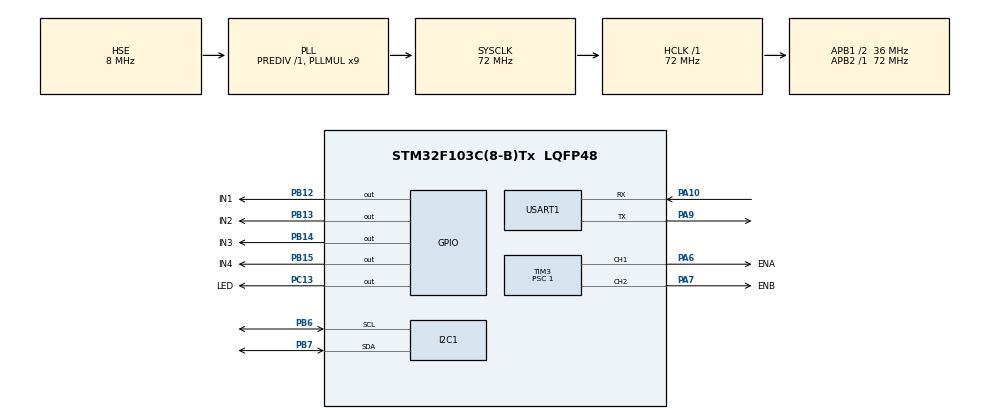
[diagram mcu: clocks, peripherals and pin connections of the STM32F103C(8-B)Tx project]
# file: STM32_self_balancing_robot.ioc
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FREERTOS.MEMORY_ALLOCATION=1
FREERTOS.Tasks01=defaultTask,-2,128,StartDefaultTask,Default,NULL,Static,defaultTaskBuffer,defaultTaskControlBlock;mpu6050Task,2,128,StartMpu6050Task,Default,NULL,Static,mpu6050TaskBuffer,mpu6050TaskControlBlock;pidCtrlTask,2,128,StartPidControllerTask,Default,NULL,Static,pidControllerTaBuffer,pidControllerTaControlBlock;sbrMasterTask,1,128,StartSbrMasterTask,Default,NULL,Static,sbrMasterTaskBuffer,sbrMasterTaskControlBlock;debugMsgTask,-2,128,StartDebugMessengerTask,Default,NULL,Static,debugMessengerHBuffer,debugMessengerHControlBlock;sbrCmdTask,-2,128,StartSbrCommandTask,Default,NULL,Static,sbrCommandHandlBuffer,sbrCommandHandlControlBlock;motorCtrlTask,2,128,StartMotorCtrlTask,Default,NULL,Static,motorCtrlTaskBuffer,motorCtrlTaskControlBlock;ledTask,-2,128,StartLedTask,Default,NULL,Static,ledTaskBuffer,ledTaskControlBlock
FREERTOS.configUSE_NEWLIB_REENTRANT=1
Mcu.Family=STM32F1
Mcu.Name=STM32F103C(8-B)Tx
Mcu.Package=LQFP48
NVIC.PriorityGroup=NVIC_PRIORITYGROUP_4
NVIC.TIM1_UP_IRQn=true\:15\:0\:false\:false\:true\:false\:false\:true\:true
NVIC.TimeBase=TIM1_UP_IRQn
NVIC.TimeBaseIP=TIM1
NVIC.USART1_IRQn=true\:5\:0\:false\:false\:true\:true\:true\:true\:true
PA10.Mode=Asynchronous
PA10.Signal=USART1_RX
PA13.Mode=Serial_Wire
PA13.Signal=SYS_JTMS-SWDIO
PA14.Mode=Serial_Wire
PA14.Signal=SYS_JTCK-SWCLK
PA6.GPIO_Label=ENA
PA6.Signal=S_TIM3_CH1
PA7.GPIO_Label=ENB
PA7.Signal=S_TIM3_CH2
PA9.Mode=Asynchronous
PA9.Signal=USART1_TX
PB12.GPIO_Label=IN1
PB12.Signal=GPIO_Output
PB13.GPIO_Label=IN2
PB13.Signal=GPIO_Output
PB14.GPIO_Label=IN3
PB14.Signal=GPIO_Output
PB15.GPIO_Label=IN4
PB15.Signal=GPIO_Output
PB6.GPIO_Pu=GPIO_PULLUP
PB6.Mode=I2C
PB6.Signal=I2C1_SCL
PB7.GPIO_Pu=GPIO_PULLUP
PB7.Mode=I2C
PB7.Signal=I2C1_SDA
PC13-TAMPER-RTC.GPIO_Label=LED
PC13-TAMPER-RTC.Signal=GPIO_Output
PD0-OSC_IN.Mode=HSE-External-Oscillator
PD0-OSC_IN.Signal=RCC_OSC_IN
PD1-OSC_OUT.Mode=HSE-External-Oscillator
PD1-OSC_OUT.Signal=RCC_OSC_OUT
ProjectManager.HeapSize=0x200
ProjectManager.StackSize=0x400
ProjectManager.TargetToolchain=Makefile
RCC.AHBFreq_Value=72000000
RCC.APB1CLKDivider=RCC_HCLK_DIV2
RCC.APB1Freq_Value=36000000
RCC.APB1TimFreq_Value=72000000
RCC.APB2Freq_Value=72000000
RCC.APB2TimFreq_Value=72000000
RCC.HCLKFreq_Value=72000000
RCC.PLLMUL=RCC_PLL_MUL9
RCC.PLLSourceVirtual=RCC_PLLSOURCE_HSE
RCC.SYSCLKFreq_VALUE=72000000
RCC.SYSCLKSource=RCC_SYSCLKSOURCE_PLLCLK
RCC.USBFreq_Value=72000000
SH.S_TIM3_CH1.0=TIM3_CH1,PWM Generation1 CH1
SH.S_TIM3_CH2.0=TIM3_CH2,PWM Generation2 CH2
TIM3.Channel-PWM\ Generation1\ CH1=TIM_CHANNEL_1
TIM3.Channel-PWM\ Generation2\ CH2=TIM_CHANNEL_2
TIM3.Period=1023
TIM3.Prescaler=1
USART1.VirtualMode=VM_ASYNC
VP_FREERTOS_VS_CMSIS_V1.Mode=CMSIS_V1
VP_SYS_VS_tim1.Mode=TIM1
VP_TIM3_VS_ClockSourceINT.Mode=Internal
board=custom

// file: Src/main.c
/* USER CODE BEGIN Header */
/**
 ******************************************************************************
 * @file           : main.c
 * @brief          : Main program body
 ******************************************************************************
 * @attention
 *
 * <h2><center>&copy; Copyright (c) 2019 STMicroelectronics.
 * All rights reserved.</center></h2>
 *
 * This software component is licensed by ST under BSD 3-Clause license,
 * the "License"; You may not use this file except in compliance with the
 * License. You may obtain a copy of the License at:
 *                        opensource.org/licenses/BSD-3-Clause
 *
 ******************************************************************************
 */
/* USER CODE END Header */
#include "main.h"
#include "cmsis_os.h"

/* USER CODE BEGIN Includes */
#include <stdio.h>
#include <stdlib.h>
//#include <stdint.h>
#include <string.h>
#include "conf.h"
#include "self_balancing_robot.h"
/* USER CODE END Includes */

I2C_HandleTypeDef hi2c1;

TIM_HandleTypeDef htim3;

UART_HandleTypeDef huart1;

osThreadId defaultTaskHandle;
uint32_t defaultTaskBuffer[ 128 ];
osStaticThreadDef_t defaultTaskControlBlock;
osThreadId mpu6050TaskHandle;
uint32_t mpu6050TaskBuffer[ 128 ];
osStaticThreadDef_t mpu6050TaskControlBlock;
osThreadId pidCtrlTaskHandle;
uint32_t pidControllerTaBuffer[ 128 ];
osStaticThreadDef_t pidControllerTaControlBlock;
osThreadId sbrMasterTaskHandle;
uint32_t sbrMasterTaskBuffer[ 128 ];
osStaticThreadDef_t sbrMasterTaskControlBlock;
osThreadId debugMsgTaskHandle;
uint32_t debugMessengerHBuffer[ 128 ];
osStaticThreadDef_t debugMessengerHControlBlock;
osThreadId sbrCmdTaskHandle;
uint32_t sbrCommandHandlBuffer[ 128 ];
osStaticThreadDef_t sbrCommandHandlControlBlock;
osThreadId motorCtrlTaskHandle;
uint32_t motorCtrlTaskBuffer[ 128 ];
osStaticThreadDef_t motorCtrlTaskControlBlock;
osThreadId ledTaskHandle;
uint32_t ledTaskBuffer[ 128 ];
osStaticThreadDef_t ledTaskControlBlock;

void SystemClock_Config(void);
static void MX_GPIO_Init(void);
static void MX_I2C1_Init(void);
static void MX_TIM3_Init(void);
static void MX_USART1_UART_Init(void);
void StartDefaultTask(void const * argument);
void StartMpu6050Task(void const * argument);
void StartPidControllerTask(void const * argument);
void StartSbrMasterTask(void const * argument);
void StartDebugMessengerTask(void const * argument);
void StartSbrCommandTask(void const * argument);
void StartMotorCtrlTask(void const * argument);
void StartLedTask(void const * argument);

/* USER CODE BEGIN 0 */
SELF_BALANCING_ROBOT_handle_S selfBalancingRobot;

uint8_t UART_tx_buffer[2][100] = { 0 };
/* USER CODE END 0 */

int main(void)
{

  /* MCU Configuration--------------------------------------------------------*/

  /* Reset of all peripherals, Initializes the Flash interface and the Systick. */
  HAL_Init();

  /* USER CODE BEGIN Init */
    selfBalancingRobot.req_robot_angle = INITIAL_UPRIGHT_ROBOT_ANGLE;
  /* USER CODE END Init */

  /* Configure the system clock */
  SystemClock_Config();

  /* Initialize all configured peripherals */
  MX_GPIO_Init();
  MX_I2C1_Init();
  MX_TIM3_Init();
  MX_USART1_UART_Init();
  /* USER CODE BEGIN 2 */
  HAL_Delay(2000);
  // Initialize accelerometer and gyroscope
  MPU6050_init(&selfBalancingRobot.mpu6050Handle, &hi2c1);
  // Initialize PID controler
  PID_init(&selfBalancingRobot.pidHandle);
  // Turn the on-board LED off
  HAL_GPIO_WritePin(LED_GPIO_Port, LED_Pin, GPIO_PIN_SET);
  // Enable UART rx interrupts (bluetooth)
  __HAL_UART_ENABLE_IT(&huart1, UART_IT_RXNE);
  // Initialize motors
  MOTORS_init(&selfBalancingRobot.motorsHandle, &htim3);
  /* USER CODE END 2 */

  /* Create the thread(s) */
  /* definition and creation of defaultTask */
  osThreadStaticDef(defaultTask, StartDefaultTask, osPriorityLow, 0, 128, defaultTaskBuffer, &defaultTaskControlBlock);
  defaultTaskHandle = osThreadCreate(osThread(defaultTask), NULL);

  /* definition and creation of mpu6050Task */
  osThreadStaticDef(mpu6050Task, StartMpu6050Task, osPriorityHigh, 0, 128, mpu6050TaskBuffer, &mpu6050TaskControlBlock);
  mpu6050TaskHandle = osThreadCreate(osThread(mpu6050Task), NULL);

  /* definition and creation of pidCtrlTask */
  osThreadStaticDef(pidCtrlTask, StartPidControllerTask, osPriorityHigh, 0, 128, pidControllerTaBuffer, &pidControllerTaControlBlock);
  pidCtrlTaskHandle = osThreadCreate(osThread(pidCtrlTask), NULL);

  /* definition and creation of sbrMasterTask */
  osThreadStaticDef(sbrMasterTask, StartSbrMasterTask, osPriorityAboveNormal, 0, 128, sbrMasterTaskBuffer, &sbrMasterTaskControlBlock);
  sbrMasterTaskHandle = osThreadCreate(osThread(sbrMasterTask), NULL);

  /* definition and creation of debugMsgTask */
  osThreadStaticDef(debugMsgTask, StartDebugMessengerTask, osPriorityLow, 0, 128, debugMessengerHBuffer, &debugMessengerHControlBlock);
  debugMsgTaskHandle = osThreadCreate(osThread(debugMsgTask), NULL);

  /* definition and creation of sbrCmdTask */
  osThreadStaticDef(sbrCmdTask, StartSbrCommandTask, osPriorityLow, 0, 128, sbrCommandHandlBuffer, &sbrCommandHandlControlBlock);
  sbrCmdTaskHandle = osThreadCreate(osThread(sbrCmdTask), NULL);

  /* definition and creation of motorCtrlTask */
  osThreadStaticDef(motorCtrlTask, StartMotorCtrlTask, osPriorityHigh, 0, 128, motorCtrlTaskBuffer, &motorCtrlTaskControlBlock);
  motorCtrlTaskHandle = osThreadCreate(osThread(motorCtrlTask), NULL);

  /* definition and creation of ledTask */
  osThreadStaticDef(ledTask, StartLedTask, osPriorityLow, 0, 128, ledTaskBuffer, &ledTaskControlBlock);
  ledTaskHandle = osThreadCreate(osThread(ledTask), NULL);

  /* Start scheduler */
  osKernelStart();
  /* We should never get here as control is now taken by the scheduler */
  /* Infinite loop */
  /* USER CODE BEGIN WHILE */
    while (FALSE == selfBalancingRobot.robot_shutdown) {
    /* USER CODE END WHILE */

    /* USER CODE BEGIN 3 */
        if (TRUE == selfBalancingRobot.update_pid) {
            SELF_BALANCING_ROBOT_handler(&selfBalancingRobot);
        } else {
            if (TRUE == selfBalancingRobot.send_important_data) {
                selfBalancingRobot.send_important_data = FALSE;
                HAL_UART_Transmit(&huart1, (uint8_t*) UART_tx_buffer[IMPORTANT_DATA], strlen((char*) UART_tx_buffer[IMPORTANT_DATA]), 100);
            }
            if (TRUE == selfBalancingRobot.send_non_important_data) {
                selfBalancingRobot.send_non_important_data = FALSE;

                HAL_UART_Transmit(&huart1, (uint8_t*) UART_tx_buffer[NON_IMPORTANT_DATA], strlen((char*) UART_tx_buffer[NON_IMPORTANT_DATA]), 100);
            }
        }
    }
  /* USER CODE END 3 */
}

void SystemClock_Config(void)
{
  RCC_OscInitTypeDef RCC_OscInitStruct = {0};
  RCC_ClkInitTypeDef RCC_ClkInitStruct = {0};

  /** Initializes the RCC Oscillators according to the specified parameters
  * in the RCC_OscInitTypeDef structure.
  */
  RCC_OscInitStruct.OscillatorType = RCC_OSCILLATORTYPE_HSE;
  RCC_OscInitStruct.HSEState = RCC_HSE_ON;
  RCC_OscInitStruct.HSEPredivValue = RCC_HSE_PREDIV_DIV1;
  RCC_OscInitStruct.HSIState = RCC_HSI_ON;
  RCC_OscInitStruct.PLL.PLLState = RCC_PLL_ON;
  RCC_OscInitStruct.PLL.PLLSource = RCC_PLLSOURCE_HSE;
  RCC_OscInitStruct.PLL.PLLMUL = RCC_PLL_MUL9;
  if (HAL_RCC_OscConfig(&RCC_OscInitStruct) != HAL_OK)
  {
    Error_Handler();
  }

  /** Initializes the CPU, AHB and APB buses clocks
  */
  RCC_ClkInitStruct.ClockType = RCC_CLOCKTYPE_HCLK|RCC_CLOCKTYPE_SYSCLK
                              |RCC_CLOCKTYPE_PCLK1|RCC_CLOCKTYPE_PCLK2;
  RCC_ClkInitStruct.SYSCLKSource = RCC_SYSCLKSOURCE_PLLCLK;
  RCC_ClkInitStruct.AHBCLKDivider = RCC_SYSCLK_DIV1;
  RCC_ClkInitStruct.APB1CLKDivider = RCC_HCLK_DIV2;
  RCC_ClkInitStruct.APB2CLKDivider = RCC_HCLK_DIV1;

  if (HAL_RCC_ClockConfig(&RCC_ClkInitStruct, FLASH_LATENCY_2) != HAL_OK)
  {
    Error_Handler();
  }
}

static void MX_I2C1_Init(void)
{

  hi2c1.Instance = I2C1;
  hi2c1.Init.ClockSpeed = 100000;
  hi2c1.Init.DutyCycle = I2C_DUTYCYCLE_2;
  hi2c1.Init.OwnAddress1 = 0;
  hi2c1.Init.AddressingMode = I2C_ADDRESSINGMODE_7BIT;
  hi2c1.Init.DualAddressMode = I2C_DUALADDRESS_DISABLE;
  hi2c1.Init.OwnAddress2 = 0;
  hi2c1.Init.GeneralCallMode = I2C_GENERALCALL_DISABLE;
  hi2c1.Init.NoStretchMode = I2C_NOSTRETCH_DISABLE;
  if (HAL_I2C_Init(&hi2c1) != HAL_OK)
  {
    Error_Handler();
  }

}

static void MX_TIM3_Init(void)
{

  TIM_ClockConfigTypeDef sClockSourceConfig = {0};
  TIM_MasterConfigTypeDef sMasterConfig = {0};
  TIM_OC_InitTypeDef sConfigOC = {0};

  htim3.Instance = TIM3;
  htim3.Init.Prescaler = 1;
  htim3.Init.CounterMode = TIM_COUNTERMODE_UP;
  htim3.Init.Period = 1023;
  htim3.Init.ClockDivision = TIM_CLOCKDIVISION_DIV1;
  htim3.Init.AutoReloadPreload = TIM_AUTORELOAD_PRELOAD_DISABLE;
  if (HAL_TIM_Base_Init(&htim3) != HAL_OK)
  {
    Error_Handler();
  }
  sClockSourceConfig.ClockSource = TIM_CLOCKSOURCE_INTERNAL;
  if (HAL_TIM_ConfigClockSource(&htim3, &sClockSourceConfig) != HAL_OK)
  {
    Error_Handler();
  }
  if (HAL_TIM_PWM_Init(&htim3) != HAL_OK)
  {
    Error_Handler();
  }
  sMasterConfig.MasterOutputTrigger = TIM_TRGO_RESET;
  sMasterConfig.MasterSlaveMode = TIM_MASTERSLAVEMODE_DISABLE;
  if (HAL_TIMEx_MasterConfigSynchronization(&htim3, &sMasterConfig) != HAL_OK)
  {
    Error_Handler();
  }
  sConfigOC.OCMode = TIM_OCMODE_PWM1;
  sConfigOC.Pulse = 0;
  sConfigOC.OCPolarity = TIM_OCPOLARITY_HIGH;
  sConfigOC.OCFastMode = TIM_OCFAST_DISABLE;
  if (HAL_TIM_PWM_ConfigChannel(&htim3, &sConfigOC, TIM_CHANNEL_1) != HAL_OK)
  {
    Error_Handler();
  }
  if (HAL_TIM_PWM_ConfigChannel(&htim3, &sConfigOC, TIM_CHANNEL_2) != HAL_OK)
  {
    Error_Handler();
  }
  HAL_TIM_MspPostInit(&htim3);

}

static void MX_USART1_UART_Init(void)
{

  huart1.Instance = USART1;
  huart1.Init.BaudRate = 115200;
  huart1.Init.WordLength = UART_WORDLENGTH_8B;
  huart1.Init.StopBits = UART_STOPBITS_1;
  huart1.Init.Parity = UART_PARITY_NONE;
  huart1.Init.Mode = UART_MODE_TX_RX;
  huart1.Init.HwFlowCtl = UART_HWCONTROL_NONE;
  huart1.Init.OverSampling = UART_OVERSAMPLING_16;
  if (HAL_UART_Init(&huart1) != HAL_OK)
  {
    Error_Handler();
  }

}

static void MX_GPIO_Init(void)
{
  GPIO_InitTypeDef GPIO_InitStruct = {0};

  /* GPIO Ports Clock Enable */
  __HAL_RCC_GPIOC_CLK_ENABLE();
  __HAL_RCC_GPIOD_CLK_ENABLE();
  __HAL_RCC_GPIOA_CLK_ENABLE();
  __HAL_RCC_GPIOB_CLK_ENABLE();

  /*Configure GPIO pin Output Level */
  HAL_GPIO_WritePin(LED_GPIO_Port, LED_Pin, GPIO_PIN_RESET);

  /*Configure GPIO pin Output Level */
  HAL_GPIO_WritePin(GPIOB, IN1_Pin|IN2_Pin|IN3_Pin|IN4_Pin, GPIO_PIN_RESET);

  /*Configure GPIO pin : LED_Pin */
  GPIO_InitStruct.Pin = LED_Pin;
  GPIO_InitStruct.Mode = GPIO_MODE_OUTPUT_PP;
  GPIO_InitStruct.Pull = GPIO_NOPULL;
  GPIO_InitStruct.Speed = GPIO_SPEED_FREQ_LOW;
  HAL_GPIO_Init(LED_GPIO_Port, &GPIO_InitStruct);

  /*Configure GPIO pins : IN1_Pin IN2_Pin IN3_Pin IN4_Pin */
  GPIO_InitStruct.Pin = IN1_Pin|IN2_Pin|IN3_Pin|IN4_Pin;
  GPIO_InitStruct.Mode = GPIO_MODE_OUTPUT_PP;
  GPIO_InitStruct.Pull = GPIO_NOPULL;
  GPIO_InitStruct.Speed = GPIO_SPEED_FREQ_LOW;
  HAL_GPIO_Init(GPIOB, &GPIO_InitStruct);

}

void StartDefaultTask(void const * argument)
{
  for(;;)
  {
    osDelay(1);
  }
}

void StartMpu6050Task(void const * argument)
{
  for(;;)
  {
    osDelay(1);
  }
}

void StartPidControllerTask(void const * argument)
{
  for(;;)
  {
    osDelay(1);
  }
}

void StartSbrMasterTask(void const * argument)
{
  for(;;)
  {
    osDelay(1);
  }
}

void StartDebugMessengerTask(void const * argument)
{
  for(;;)
  {
    osDelay(1);
  }
}

void StartSbrCommandTask(void const * argument)
{
  for(;;)
  {
    osDelay(1);
  }
}

void StartMotorCtrlTask(void const * argument)
{
  for(;;)
  {
    osDelay(1);
  }
}

void StartLedTask(void const * argument)
{
  for(;;)
  {
    osDelay(1);
  }
}

void HAL_TIM_PeriodElapsedCallback(TIM_HandleTypeDef *htim)
{
  if (htim->Instance == TIM1) {
    HAL_IncTick();
  }
}

void Error_Handler(void)
{
}
